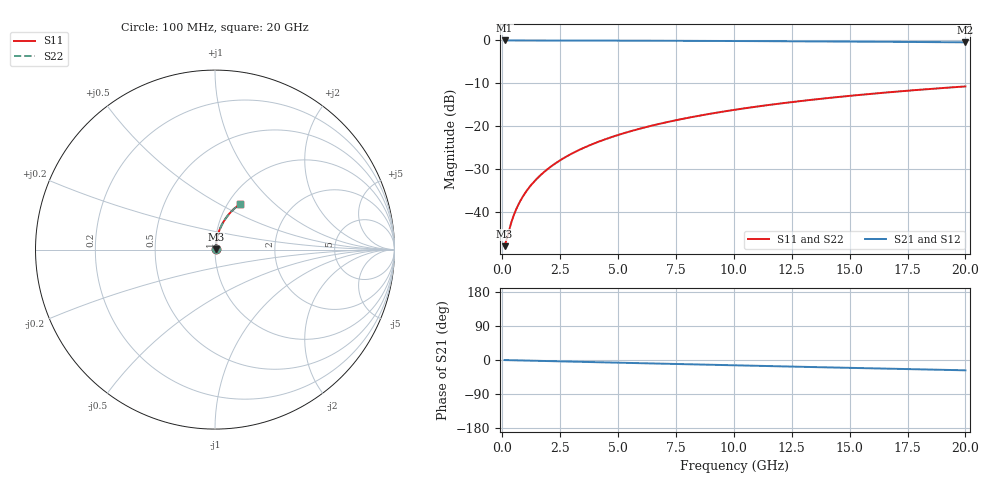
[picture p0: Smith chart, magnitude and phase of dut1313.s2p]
! Touchstone file exported from HFSS 2026.1.0
!  File:  C:/ffzhzh/LocalFiles/Ansys_Project_Files/temp_train_BSMRDL_1313_1783178381_18472.aedt
!  Generated:  11:20:54 PM Jul  4, 2026
!  Design:  BSMRDL
!  Project:  temp_train_BSMRDL_1313_1783178381_18472
! Variables:
!  h_bsmrdl = 2.3um
!  h_ox = 20um
!  h_rdl = 5um
!  h_sub = 80um
!  h_tmrdl = 5um
!  h_tsv = 80um
!  h_via = 3um
!  l_bsmrdl = 354.01um
!  l_sub = 754.01um
!  l_tmrdl = 200um
!  m_sub = 200um
!  pitch = 40.61um
!  r_tsv = 6um
!  s_tmrdl = 10um
!  w_bsmrdl = 16.15um
!  w_sub = 500um
!  w_tmrdl = 12um
!  x_tsv_center1 = 206um
!  x_tsv_center2 = 576.16um
!  x_tsv_center3 = 788.16um
!  x_tsv_center4 = 1158.32um
!  x_tsv_center5 = 1370.32um
!  x_tsv_center6 = 1740.48um
# GHz S MA R 50.000000
! Terminal data exported
! Port[1] = BSM_RDL1_1_T1
! Port[2] = BSM_RDL1_1_T2
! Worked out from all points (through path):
!   200 points, 100 MHz to 20 GHz, reference 50 ohm
!   highest |S21| = -0.03 dB at 100 MHz (marker M1); lowest = -0.5 dB at 20 GHz (marker M2)
!   group delay of S21, straight-line fit = 3.78 ps
!   lowest |S11| = -47.9 dB at 100 MHz (marker M3), VSWR 1.01, Z = 50.4 + j0.172 ohm
!   |S11| at or under -10 dB: start of sweep to end of sweep
!   |S22| runs from -47.9 to -10.7 dB; largest |S21 - S12| = 4.9e-15
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0.1  0.004013 25.2  0.9964 -0.1  0.9964 -0.1  0.004013 25.2
! Gamma 0 0 0 0
! Port Impedance 50 0 50 0
0.3  0.006329 53.3  0.9962 -0.4  0.9962 -0.4  0.006329 53.3
0.4  0.007768 59.9  0.9961 -0.6  0.9961 -0.6  0.007768 59.9
0.5  0.009262 64.3  0.996 -0.7  0.996 -0.7  0.009262 64.3
0.6  0.01078 67.4  0.996 -0.9  0.996 -0.9  0.01078 67.4
0.7  0.0123 69.6  0.9959 -1.0  0.9959 -1.0  0.0123 69.6
0.9  0.01536 72.8  0.9957 -1.3  0.9957 -1.3  0.01536 72.8
1.2  0.01997 75.7  0.9955 -1.7  0.9955 -1.7  0.01997 75.7
1.4  0.02305 76.9  0.9953 -2.0  0.9953 -2.0  0.02305 76.9
1.7  0.02769 78.2  0.9951 -2.4  0.9951 -2.4  0.02769 78.2
2.2  0.03546 79.4  0.9948 -3.1  0.9948 -3.1  0.03547 79.4
2.8  0.04482 80.0  0.9943 -4.0  0.9943 -4.0  0.04482 80.0
3.5  0.05575 80.1  0.9936 -5.0  0.9936 -5.0  0.05575 80.1
4.2  0.06666 79.8  0.9928 -6.0  0.9928 -6.0  0.06666 79.8
5  0.07908 79.2  0.9918 -7.1  0.9918 -7.1  0.07908 79.2
5.9  0.09298 78.4  0.9904 -8.3  0.9904 -8.3  0.09298 78.4
6.8  0.1068 77.5  0.9888 -9.6  0.9888 -9.6  0.1068 77.4
8.3  0.1295 75.7  0.9857 -11.7  0.9857 -11.7  0.1295 75.7
10.1  0.1563 73.5  0.9814 -14.2  0.9814 -14.2  0.1563 73.5
13.4  0.2036 69.3  0.9718 -18.6  0.9718 -18.6  0.2036 69.3
16.7  0.2485 65.2  0.9605 -23.0  0.9605 -23.0  0.2485 65.1
20  0.2906 61.0  0.9479 -27.2  0.9479 -27.2  0.2906 61.0
